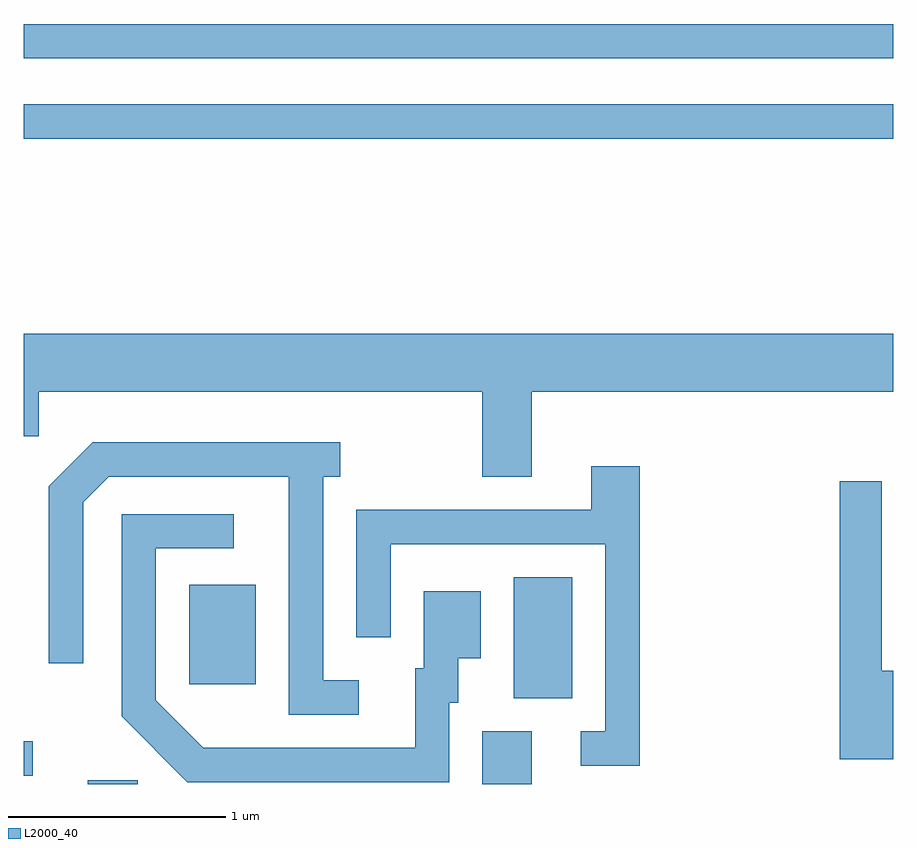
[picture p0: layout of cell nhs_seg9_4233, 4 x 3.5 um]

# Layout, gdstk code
import gdstk
lib = gdstk.Library(unit=1e-6, precision=1e-09)
def R(c, l, rs):  # rectangles x0, y0, x1, y1
    for r in rs: c.add(gdstk.rectangle(r[:2], r[2:], *l))
def P(c, l, *ps):  # polygons
    for p in ps: c.add(gdstk.Polygon(p, *l))
L2000_40 = (2000, 40)

nhs_seg9_4233 = lib.new_cell('nhs_seg9_4233')
R(nhs_seg9_4233, L2000_40, [(309.906,2014.432,310.134,2014.449), (311.721,2014.432,311.949,2014.674), (309.611,2014.471,309.653,2014.629), (311.866,2014.826,312.134,2015.384), (310.371,2014.891,310.679,2015.349), (309.611,2017.401,313.611,2017.559), (309.611,2017.771,313.611,2017.929)])
P(nhs_seg9_4233, L2000_40, [(311.949,2016.236),(313.611,2016.236),(313.611,2016.504),(309.611,2016.504),(309.611,2016.031),(309.679,2016.031),(309.679,2016.236),(311.721,2016.236),(311.721,2015.846),(311.949,2015.846)],
  [(311.153,2014.909),(310.989,2014.909),(310.989,2015.846),(311.068,2015.846),(311.068,2016.004),(309.929,2016.004),(309.726,2015.802),(309.726,2014.988),(309.884,2014.988),(309.884,2015.729),(310.002,2015.846),(310.831,2015.846),(310.831,2014.751),(311.153,2014.751)],
  [(312.444,2015.894),(312.221,2015.894),(312.221,2015.694),(311.141,2015.694),(311.141,2015.108),(311.299,2015.108),(311.299,2015.536),(312.286,2015.536),(312.286,2014.674),(312.173,2014.674),(312.173,2014.516),(312.444,2014.516)],
  [(313.611,2014.954),(313.559,2014.954),(313.559,2015.824),(313.366,2015.824),(313.366,2014.546),(313.611,2014.546)],
  [(311.569,2014.806),(311.609,2014.806),(311.609,2015.011),(311.714,2015.011),(311.714,2015.319),(311.451,2015.319),(311.451,2014.964),(311.411,2014.964),(311.411,2014.599),(310.437,2014.599),(310.219,2014.817),(310.219,2015.516),(310.578,2015.516),(310.578,2015.674),(310.061,2015.674),(310.061,2014.744),(310.364,2014.441),(311.569,2014.441)])

lib.write_gds('nhs_seg9_4233.gds')
